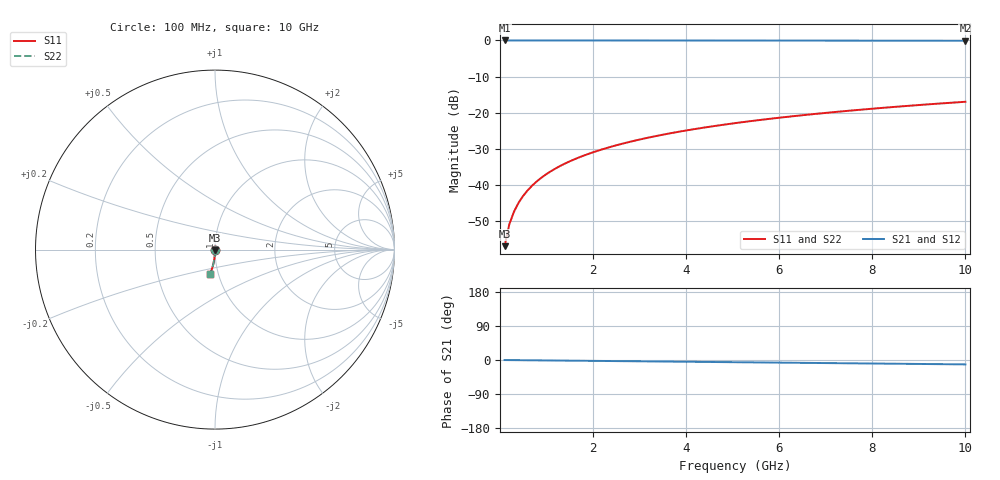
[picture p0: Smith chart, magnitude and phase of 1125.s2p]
# Hz S RI R 50.00
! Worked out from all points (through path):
!   100 points, 100 MHz to 10 GHz, reference 50 ohm
!   highest |S21| = 0.00 dB at 100 MHz (marker M1); lowest = -0.1 dB at 10 GHz (marker M2)
!   group delay of S21, straight-line fit = 3.22 ps
!   lowest |S11| = -57.0 dB at 100 MHz (marker M3), VSWR 1.00, Z = 50 - j0.141 ohm
!   |S11| at or under -10 dB: start of sweep to end of sweep
!   |S22| runs from -57.0 to -17.0 dB; largest |S21 - S12| = 0
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1e8  7.76e-05 -0.00141  0.9999 -0.002  0.9999 -0.002  7.76e-05 -0.00141
2e8  6.81e-05 -0.00281  0.9999 -0.004  0.9999 -0.004  6.81e-05 -0.00281
3e8  5.28e-05 -0.00422  0.9999 -0.006  0.9999 -0.006  5.28e-05 -0.00422
4e8  3.18e-05 -0.00562  0.9999 -0.008  0.9999 -0.008  3.18e-05 -0.00562
5e8  5.09e-06 -0.00703  0.9998 -0.01  0.9998 -0.01  5.09e-06 -0.00703
6e8  -2.73e-05 -0.00844  0.9998 -0.012  0.9998 -0.012  -2.73e-05 -0.00844
7e8  -6.53e-05 -0.00984  0.9998 -0.014  0.9998 -0.014  -6.53e-05 -0.00984
8e8  -0.000109 -0.0113  0.9997 -0.016  0.9997 -0.016  -0.000109 -0.0113
9e8  -0.000158 -0.0127  0.9997 -0.018  0.9997 -0.018  -0.000158 -0.0127
1.1e9  -0.000274 -0.0155  0.9995 -0.022  0.9995 -0.022  -0.000274 -0.0155
1.4e9  -0.00049 -0.0197  0.9993 -0.028  0.9993 -0.028  -0.00049 -0.0197
1.8e9  -0.000857 -0.0253  0.9989 -0.036  0.9989 -0.036  -0.000857 -0.0253
2.1e9  -0.00119 -0.0296  0.9986 -0.042  0.9986 -0.042  -0.00119 -0.0296
2.5e9  -0.00172 -0.0352  0.998 -0.0501  0.998 -0.0501  -0.00172 -0.0352
2.9e9  -0.00234 -0.0408  0.9973 -0.0581  0.9973 -0.0581  -0.00234 -0.0408
3.4e9  -0.00324 -0.0479  0.9964 -0.0681  0.9964 -0.0681  -0.00324 -0.0479
4.2e9  -0.00499 -0.0591  0.9945 -0.0842  0.9945 -0.0842  -0.00499 -0.0591
5.1e9  -0.00739 -0.0717  0.992 -0.1022  0.992 -0.1022  -0.00739 -0.0717
5.9e9  -0.00991 -0.0829  0.9893 -0.1182  0.9893 -0.1182  -0.00991 -0.0829
6.7e9  -0.0128 -0.0939  0.9862 -0.1341  0.9862 -0.1341  -0.0128 -0.0939
8.4e9  -0.0201 -0.1171  0.9784 -0.1677  0.9784 -0.1677  -0.0201 -0.1171
1e10  -0.0285 -0.1384  0.9695 -0.1989  0.9695 -0.1989  -0.0285 -0.1384
